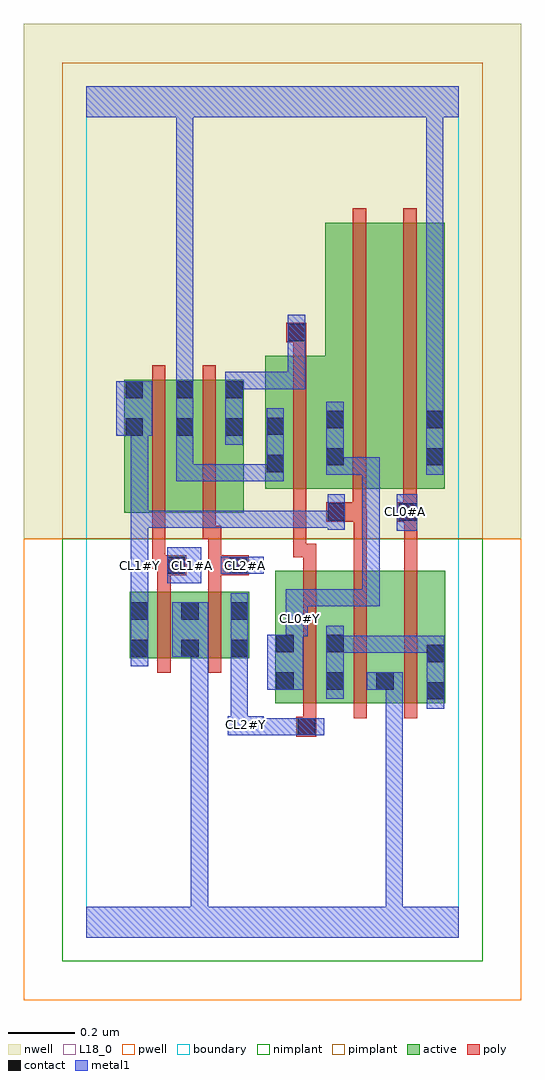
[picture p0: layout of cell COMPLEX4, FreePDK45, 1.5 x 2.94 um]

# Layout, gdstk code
import gdstk
lib = gdstk.Library(unit=1e-6, precision=1e-09)
def R(c, l, rs):  # rectangles x0, y0, x1, y1
    for r in rs: c.add(gdstk.rectangle(r[:2], r[2:], *l))
def A(c, l, x, y, w, h, nx, ny, dx, dy):  # array of equal rectangles
    R(c, l, [(x+i*dx, y+j*dy, x+i*dx+w, y+j*dy+h) for i in range(nx) for j in range(ny)])
active = (1, 0)
pwell = (2, 0)
nwell = (3, 0)
nimplant = (4, 0)
pimplant = (5, 0)
poly = (9, 0)
contact = (10, 0)
metal1 = (11, 0)
L18_0 = (18, 0)
boundary = (235, 0)

complex4 = lib.new_cell('COMPLEX4')
R(complex4, active, [(0.568,0.704,0.628,1.104), (0.568,0.704,0.778,1.104), (0.718,0.704,0.928,1.104), (0.718,0.704,0.778,0.92), (0.868,0.704,1.08,1.104), (0.868,0.704,0.928,0.844), (1.02,0.704,1.08,1.104), (0.13,0.84,0.19,1.04), (0.13,0.84,0.342,1.04), (0.282,0.84,0.342,1.04), (0.282,0.84,0.49,1.04), (0.43,0.84,0.49,1.04), (0.114,1.278,0.174,1.678), (0.114,1.278,0.326,1.678), (0.266,1.278,0.474,1.678), (0.414,1.278,0.474,1.678), (0.538,1.35,0.778,1.75), (0.538,1.35,0.598,1.644), (0.718,1.35,0.898,2.15), (0.898,1.35,1.078,2.15), (1.018,1.35,1.078,2.044), (0.718,1.416,0.778,1.644), (0.266,1.478,0.326,1.678)])
R(complex4, pwell, [(-0.188,-0.188,1.308,1.2)])
R(complex4, nwell, [(-0.188,1.2,1.308,2.748)])
R(complex4, nimplant, [(-0.072,-0.072,1.192,1.2)])
R(complex4, pimplant, [(-0.072,1.2,1.192,2.632)])
A(complex4, poly, 0.652, 0.66, 0.04, 0.488, 3, 1, 0.152, 0)
R(complex4, poly, [(0.632,0.604,0.692,0.664), (0.652,0.624,0.692,0.7), (0.214,0.796,0.254,1.084), (0.366,0.796,0.406,1.084), (0.214,1.044,0.254,1.13), (0.366,1.044,0.406,1.13), (0.214,1.09,0.3,1.15), (0.366,1.09,0.488,1.15), (0.652,1.108,0.692,1.184), (0.804,1.108,0.844,1.29), (0.956,1.108,0.996,1.29), (0.198,1.11,0.254,1.15), (0.198,1.11,0.238,1.274), (0.214,1.11,0.254,1.15), (0.366,1.11,0.406,1.238), (0.622,1.144,0.662,1.184), (0.622,1.144,0.662,1.184), (0.622,1.144,0.662,1.346), (0.622,1.144,0.692,1.184), (0.35,1.198,0.39,1.274), (0.35,1.198,0.406,1.238), (0.198,1.234,0.238,1.722), (0.35,1.234,0.39,1.722), (0.722,1.25,0.842,1.31), (0.802,1.25,0.842,1.29), (0.802,1.25,0.844,1.29), (0.936,1.25,0.996,1.31), (0.956,1.25,0.996,1.29), (0.956,1.25,0.996,1.29), (0.802,1.27,0.842,1.346), (0.954,1.27,0.994,1.346), (0.622,1.306,0.662,1.794), (0.802,1.306,0.842,2.194), (0.954,1.306,0.994,2.194), (0.622,1.754,0.662,1.83), (0.602,1.79,0.662,1.85)])
A(complex4, contact, 0.572, 0.746, 0.052, 0.052, 3, 1, 0.15, 0)
R(complex4, contact, [(0.636,0.608,0.688,0.66), (1.024,0.716,1.076,0.768), (1.024,0.828,1.076,0.88), (0.134,0.844,0.186,0.896), (0.286,0.844,0.338,0.896), (0.434,0.844,0.486,0.896), (0.572,0.858,0.624,0.91), (0.722,0.858,0.774,0.91), (0.134,0.956,0.186,1.008), (0.286,0.956,0.338,1.008), (0.434,0.956,0.486,1.008), (0.244,1.094,0.296,1.146), (0.432,1.094,0.484,1.146), (0.726,1.254,0.778,1.306), (0.94,1.254,0.992,1.306), (0.542,1.4,0.594,1.452), (0.722,1.42,0.774,1.472), (1.022,1.42,1.074,1.472), (0.118,1.51,0.17,1.562), (0.27,1.51,0.322,1.562), (0.418,1.51,0.47,1.562), (0.542,1.512,0.594,1.564), (0.722,1.532,0.774,1.584), (1.022,1.532,1.074,1.584), (0.118,1.622,0.17,1.674), (0.27,1.622,0.322,1.674), (0.418,1.622,0.47,1.674), (0.606,1.794,0.658,1.846)])
R(complex4, metal1, [(0,0,1.12,0.092), (0.314,0.04,0.366,0.092), (0.314,0.04,0.366,0.092), (0.314,0.04,0.366,0.092), (0.314,0.04,0.366,0.092), (0.314,0.04,0.366,0.092), (0.314,0.04,0.366,0.092), (0.314,0.04,0.366,0.092), (0.314,0.04,0.366,0.092), (0.314,0.04,0.366,0.092), (0.314,0.04,0.366,0.092), (0.314,0.04,0.366,0.092), (0.314,0.04,0.366,0.092), (0.314,0.04,0.366,0.896), (0.9,0.04,0.952,0.092), (0.9,0.04,0.952,0.092), (0.9,0.04,0.952,0.092), (0.9,0.04,0.952,0.092), (0.9,0.04,0.952,0.092), (0.9,0.04,0.952,0.092), (0.9,0.04,0.952,0.092), (0.9,0.04,0.952,0.092), (0.9,0.04,0.952,0.092), (0.9,0.04,0.952,0.092), (0.9,0.04,0.952,0.092), (0.9,0.04,0.952,0.092), (0.9,0.04,0.952,0.798), (0.426,0.608,0.534,0.666), (0.482,0.608,0.534,0.66), (0.482,0.608,0.534,0.66), (0.482,0.608,0.66,0.66), (0.608,0.608,0.716,0.66), (0.434,0.614,0.486,0.666), (0.434,0.614,0.486,0.666), (0.434,0.614,0.486,0.666), (0.434,0.614,0.486,0.666), (0.434,0.614,0.486,0.868), (1.024,0.688,1.076,0.908), (0.722,0.718,0.774,0.938), (0.544,0.746,0.652,0.91), (0.844,0.746,0.952,0.798), (0.134,0.816,0.186,1.036), (0.434,0.816,0.486,1.036), (0.258,0.844,0.366,1.008), (0.314,0.844,0.366,0.896), (0.314,0.844,0.366,0.896), (0.314,0.844,0.366,0.896), (0.314,0.844,0.366,0.896), (0.722,0.856,0.776,0.908), (0.724,0.856,0.776,0.908), (0.724,0.856,0.964,0.908), (0.912,0.856,0.964,0.908), (0.912,0.856,1.076,0.908), (1.024,0.856,1.076,0.908), (1.024,0.856,1.076,0.908), (0.6,0.858,0.652,0.958), (0.6,0.906,0.666,1.048), (0.134,0.984,0.186,1.118), (0.614,0.996,0.666,1.048), (0.614,0.996,0.666,1.048), (0.614,0.996,0.774,1.048), (0.722,0.996,0.774,1.048), (0.722,0.996,0.776,1.048), (0.724,0.996,0.776,1.048), (0.724,0.996,0.882,1.048), (0.83,0.996,0.882,1.048), (0.83,0.996,0.882,1.444), (0.134,1.066,0.186,1.174), (0.244,1.066,0.346,1.174), (0.404,1.094,0.534,1.146), (0.134,1.122,0.186,1.284), (0.934,1.224,0.996,1.334), (0.726,1.226,0.778,1.334), (0.134,1.232,0.186,1.284), (0.134,1.232,0.186,1.284), (0.134,1.232,0.186,1.284), (0.134,1.232,0.346,1.284), (0.134,1.232,0.186,1.562), (0.294,1.232,0.346,1.284), (0.294,1.232,0.346,1.284), (0.294,1.232,0.346,1.284), (0.294,1.232,0.548,1.284), (0.496,1.232,0.548,1.284), (0.496,1.232,0.586,1.284), (0.534,1.232,0.586,1.284), (0.534,1.232,0.658,1.284), (0.606,1.232,0.658,1.284), (0.606,1.232,0.774,1.284), (0.722,1.232,0.774,1.284), (0.722,1.232,0.778,1.284), (0.27,1.372,0.322,1.424), (0.27,1.372,0.322,1.424), (0.27,1.372,0.322,1.424), (0.27,1.372,0.456,1.424), (0.27,1.372,0.322,1.444), (0.404,1.372,0.456,1.424), (0.404,1.372,0.594,1.424), (0.542,1.372,0.594,1.592), (0.27,1.392,0.322,1.444), (0.27,1.392,0.322,1.444), (0.27,1.392,0.322,1.444), (0.27,1.392,0.322,1.534), (0.722,1.392,0.774,1.612), (0.722,1.392,0.776,1.444), (0.724,1.392,0.776,1.444), (0.724,1.392,0.882,1.444), (0.83,1.392,0.882,1.444), (0.83,1.392,0.882,1.444), (0.83,1.392,0.882,1.444), (1.022,1.392,1.074,1.612), (0.27,1.482,0.322,1.702), (0.418,1.482,0.47,1.702), (0.09,1.51,0.198,1.674), (1.022,1.56,1.074,1.612), (1.022,1.56,1.074,1.612), (1.022,1.56,1.074,1.612), (1.022,1.56,1.074,1.612), (1.022,1.56,1.074,2.52), (0.27,1.65,0.322,1.702), (0.27,1.65,0.322,1.702), (0.27,1.65,0.322,1.784), (0.418,1.65,0.658,1.702), (0.606,1.65,0.658,1.702), (0.606,1.65,0.658,1.818), (0.27,1.732,0.322,1.784), (0.27,1.732,0.322,1.784), (0.27,1.732,0.322,1.784), (0.27,1.732,0.322,1.784), (0.27,1.732,0.322,1.784), (0.27,1.732,0.322,1.784), (0.27,1.732,0.322,1.784), (0.27,1.732,0.322,1.784), (0.27,1.732,0.322,1.784), (0.27,1.732,0.322,1.784), (0.27,1.732,0.322,1.784), (0.27,1.732,0.322,2.52), (0.606,1.766,0.658,1.818), (0.606,1.766,0.658,1.818), (0.606,1.766,0.658,1.874), (0,2.468,1.12,2.56), (0.27,2.468,0.322,2.52), (0.27,2.468,0.322,2.52), (1.022,2.468,1.074,2.52), (1.022,2.468,1.074,2.52), (1.022,2.468,1.074,2.52), (1.022,2.468,1.074,2.52)])
A(complex4, L18_0, 0.134, 1.094, 0.052, 0.052, 3, 1, 0.16, 0)
R(complex4, L18_0, [(0,0,1.12,0.092), (0.314,0.04,0.366,0.092), (0.314,0.04,0.366,0.092), (0.314,0.04,0.366,0.092), (0.314,0.04,0.366,0.092), (0.314,0.04,0.366,0.092), (0.314,0.04,0.366,0.092), (0.314,0.04,0.366,0.092), (0.314,0.04,0.366,0.092), (0.314,0.04,0.366,0.092), (0.314,0.04,0.366,0.092), (0.314,0.04,0.366,0.092), (0.314,0.04,0.366,0.092), (0.314,0.04,0.366,0.896), (0.9,0.04,0.952,0.092), (0.9,0.04,0.952,0.092), (0.9,0.04,0.952,0.092), (0.9,0.04,0.952,0.092), (0.9,0.04,0.952,0.092), (0.9,0.04,0.952,0.092), (0.9,0.04,0.952,0.092), (0.9,0.04,0.952,0.092), (0.9,0.04,0.952,0.092), (0.9,0.04,0.952,0.092), (0.9,0.04,0.952,0.092), (0.9,0.04,0.952,0.092), (0.9,0.04,0.952,0.798), (0.426,0.608,0.534,0.666), (0.482,0.608,0.534,0.66), (0.482,0.608,0.534,0.66), (0.482,0.608,0.66,0.66), (0.608,0.608,0.716,0.66), (0.434,0.614,0.486,0.666), (0.434,0.614,0.486,0.666), (0.434,0.614,0.486,0.666), (0.434,0.614,0.486,0.666), (0.434,0.614,0.486,0.868), (0.454,0.614,0.506,0.666), (0.544,0.746,0.652,0.91), (0.844,0.746,0.952,0.798), (0.134,0.816,0.186,1.036), (0.434,0.816,0.486,1.036), (0.258,0.844,0.366,1.008), (0.314,0.844,0.366,0.896), (0.314,0.844,0.366,0.896), (0.314,0.844,0.366,0.896), (0.314,0.844,0.366,0.896), (0.6,0.858,0.652,0.958), (0.6,0.906,0.666,1.048), (0.614,0.934,0.666,0.986), (0.134,0.984,0.186,1.118), (0.614,0.996,0.666,1.048), (0.614,0.996,0.666,1.048), (0.614,0.996,0.774,1.048), (0.722,0.996,0.774,1.048), (0.722,0.996,0.776,1.048), (0.724,0.996,0.776,1.048), (0.724,0.996,0.882,1.048), (0.83,0.996,0.882,1.048), (0.83,0.996,0.882,1.444), (0.134,1.066,0.186,1.174), (0.244,1.066,0.346,1.174), (0.404,1.094,0.534,1.146), (0.134,1.122,0.186,1.284), (0.934,1.224,0.996,1.334), (0.726,1.226,0.778,1.334), (0.134,1.232,0.186,1.284), (0.134,1.232,0.186,1.284), (0.134,1.232,0.186,1.284), (0.134,1.232,0.186,1.562), (0.134,1.232,0.346,1.284), (0.294,1.232,0.346,1.284), (0.294,1.232,0.346,1.284), (0.294,1.232,0.346,1.284), (0.294,1.232,0.548,1.284), (0.496,1.232,0.548,1.284), (0.496,1.232,0.586,1.284), (0.534,1.232,0.586,1.284), (0.534,1.232,0.658,1.284), (0.606,1.232,0.658,1.284), (0.606,1.232,0.774,1.284), (0.722,1.232,0.774,1.284), (0.722,1.232,0.778,1.284), (0.934,1.254,0.986,1.306), (0.27,1.372,0.322,1.424), (0.27,1.372,0.322,1.424), (0.27,1.372,0.322,1.424), (0.27,1.372,0.322,1.444), (0.27,1.372,0.456,1.424), (0.404,1.372,0.456,1.424), (0.404,1.372,0.594,1.424), (0.542,1.372,0.594,1.592), (0.27,1.392,0.322,1.444), (0.27,1.392,0.322,1.444), (0.27,1.392,0.322,1.444), (0.27,1.392,0.322,1.534), (0.722,1.392,0.774,1.612), (0.722,1.392,0.776,1.444), (0.724,1.392,0.776,1.444), (0.724,1.392,0.882,1.444), (0.83,1.392,0.882,1.444), (0.83,1.392,0.882,1.444), (0.83,1.392,0.882,1.444), (1.022,1.392,1.074,1.612), (0.27,1.482,0.322,1.702), (0.418,1.482,0.47,1.702), (0.09,1.51,0.198,1.674), (1.022,1.56,1.074,1.612), (1.022,1.56,1.074,1.612), (1.022,1.56,1.074,1.612), (1.022,1.56,1.074,1.612), (1.022,1.56,1.074,2.52), (0.27,1.65,0.322,1.784), (0.27,1.65,0.322,1.702), (0.27,1.65,0.322,1.702), (0.418,1.65,0.658,1.702), (0.606,1.65,0.658,1.702), (0.606,1.65,0.658,1.818), (0.27,1.732,0.322,1.784), (0.27,1.732,0.322,1.784), (0.27,1.732,0.322,1.784), (0.27,1.732,0.322,1.784), (0.27,1.732,0.322,1.784), (0.27,1.732,0.322,1.784), (0.27,1.732,0.322,1.784), (0.27,1.732,0.322,1.784), (0.27,1.732,0.322,1.784), (0.27,1.732,0.322,1.784), (0.27,1.732,0.322,1.784), (0.27,1.732,0.322,2.52), (0.606,1.766,0.658,1.874), (0.606,1.766,0.658,1.818), (0.606,1.766,0.658,1.818), (0,2.468,1.12,2.56), (0.27,2.468,0.322,2.52), (0.27,2.468,0.322,2.52), (1.022,2.468,1.074,2.52), (1.022,2.468,1.074,2.52), (1.022,2.468,1.074,2.52), (1.022,2.468,1.074,2.52)])
R(complex4, boundary, [(0,0,1.12,2.56)])
complex4.add(gdstk.Label('CL0#A', (0.96,1.28), layer=11, texttype=0))
complex4.add(gdstk.Label('CL0#Y', (0.64,0.96), layer=11, texttype=0))
complex4.add(gdstk.Label('CL1#A', (0.32,1.12), layer=11, texttype=0))
complex4.add(gdstk.Label('CL1#Y', (0.16,1.12), layer=11, texttype=0))
complex4.add(gdstk.Label('CL2#A', (0.48,1.12), layer=11, texttype=0))
complex4.add(gdstk.Label('CL2#Y', (0.48,0.64), layer=11, texttype=0))

lib.write_gds('COMPLEX4.gds')
